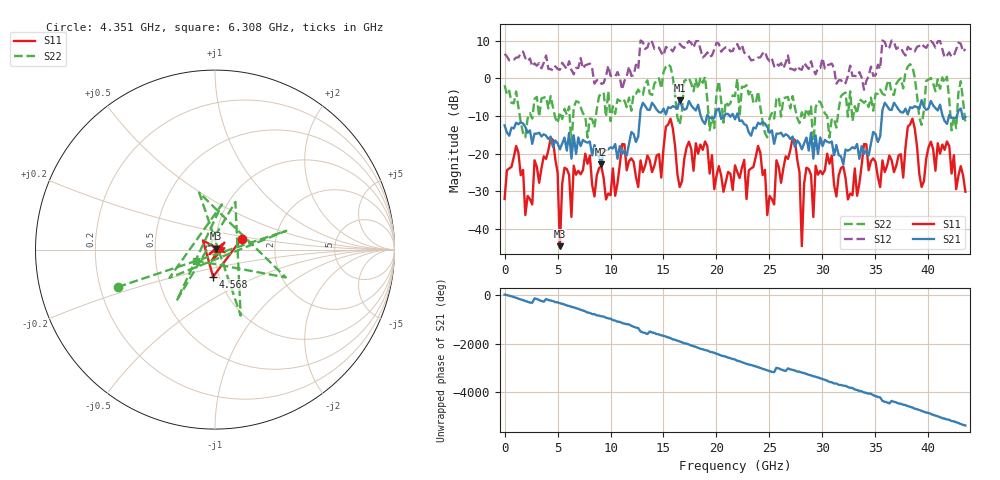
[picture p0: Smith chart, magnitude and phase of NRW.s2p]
! MS46122B
! 12345/12345
! 1/28/2024 4:47:19 PM
! D:\PC DATA\DESKTOP\PROPOSAL\MATERIAL MEASUREMENT PY\2023-11-10\NRW.S2P
! CHANNEL.1
! TR.MEASUREMENT
! RAW.DATA
# GHZ S RI R 50.0
! FREQ.GHZ  S11RE  S11IM  S21RE  S21IM  S12RE  S12IM  S22RE  S22IM
!; PortSelection: Port_12
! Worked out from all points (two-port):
!   201 points, 1 MHz to 43.5 GHz, reference 50 ohm
!   highest |S21| = -5.78 dB at 16.53 GHz (marker M1); lowest = -22.8 dB at 9.136 GHz (marker M2)
!   |S21| within 3 dB of the highest: 15.32 GHz to 18.41 GHz (3.093 GHz wide, 18.3 % of centre); 38.16 GHz to 41.25 GHz (3.093 GHz wide, 7.79 % of centre) (the widest 2 of 8)
!   lowest |S11| = -44.5 dB at 5.221 GHz (marker M3), VSWR 1.01, Z = 50.3 + j0.495 ohm
!   |S11| at or under -10 dB: start of sweep to end of sweep
!   |S22| runs from -18.3 to 3.8 dB; largest |S21 - S12| = 3.6
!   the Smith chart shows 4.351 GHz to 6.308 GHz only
!   S11 on the Smith chart (normalised r, x): 4.351 GHz: 1.34, +0.17; 4.568 GHz: 0.94, -0.29; 6.308 GHz: 1.03, +0.01
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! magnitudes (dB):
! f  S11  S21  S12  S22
! 1 MHz  -32.0  -12.5  6.5  -1.8
! 4.351 GHz  -15.9  -15.5  2.4  -4.7
! 4.568 GHz  -16.4  -18.2  2.1  -7.7
! 5.221 GHz  -44.5  -18.8  2.3  -9.0
! 5.656 GHz  -23.7  -15.7  3.3  -8.1
! 6.308 GHz  -36.8  -21.3  2.2  -18.3
! 7.396 GHz  -24.4  -16.3  2.6  -9.3
! 9.136 GHz  -23.4  -22.8  -1.5  -4.1
! 14.57 GHz  -20.1  -9.0  8.1  0.0
! 15.66 GHz  -10.7  -7.9  7.9  3.1
! 16.53 GHz  -28.8  -5.8  9.2  -12.4
! 21.75 GHz  -23.1  -10.9  8.7  -4.7
! 23.93 GHz  -17.9  -11.8  5.5  -3.5
! 24.8 GHz  -36.3  -12.9  5.4  -15.7
! 27.19 GHz  -15.9  -15.5  2.4  -4.7
! 28.06 GHz  -44.5  -18.8  2.3  -9.0
! 28.49 GHz  -23.7  -15.7  3.3  -8.1
! 29.15 GHz  -36.8  -21.3  2.2  -18.3
! 30.45 GHz  -20.0  -16.8  3.5  -9.9
! 36.32 GHz  -20.5  -8.3  8.2  -0.5
! 38.5 GHz  -10.7  -7.9  7.9  3.1
! 43.5 GHz  -30.1  -10.2  7.8  -11.8
